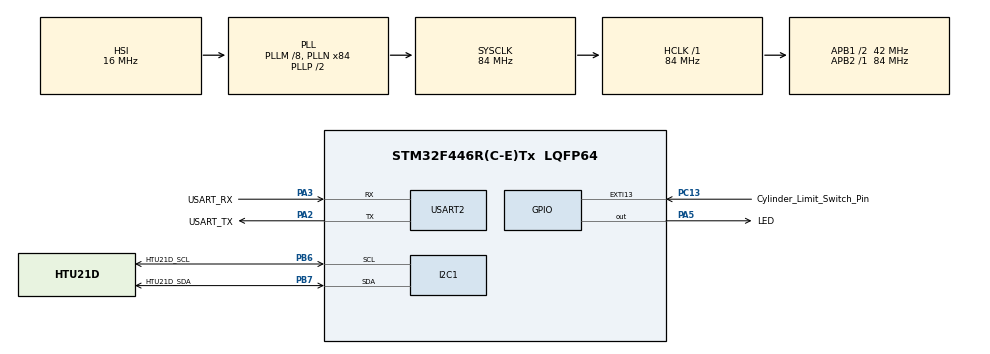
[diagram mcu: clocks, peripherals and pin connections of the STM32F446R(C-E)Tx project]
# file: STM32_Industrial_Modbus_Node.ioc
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Dma.Request0=USART2_RX
Dma.USART2_RX.0.Direction=DMA_PERIPH_TO_MEMORY
Dma.USART2_RX.0.FIFOMode=DMA_FIFOMODE_DISABLE
Dma.USART2_RX.0.Instance=DMA1_Stream5
Dma.USART2_RX.0.MemDataAlignment=DMA_MDATAALIGN_BYTE
Dma.USART2_RX.0.MemInc=DMA_MINC_ENABLE
Dma.USART2_RX.0.Mode=DMA_CIRCULAR
Dma.USART2_RX.0.PeriphDataAlignment=DMA_PDATAALIGN_BYTE
Dma.USART2_RX.0.PeriphInc=DMA_PINC_DISABLE
Dma.USART2_RX.0.Priority=DMA_PRIORITY_LOW
FREERTOS.BinarySemaphores01=FrameReadySemaphore,Dynamic,NULL,Available
FREERTOS.Tasks01=ModbusTask,40,512,StartModbusTask,Default,NULL,Dynamic,NULL,NULL;SensorTask,24,512,StartSensorTask,Default,NULL,Dynamic,NULL,NULL;DiagnosticTask,16,256,StartDiagnosticTask,Default,NULL,Dynamic,NULL,NULL
FREERTOS.configTOTAL_HEAP_SIZE=8192
IWDG.Prescaler=IWDG_PRESCALER_32
Mcu.Family=STM32F4
Mcu.Name=STM32F446R(C-E)Tx
Mcu.Package=LQFP64
NVIC.DMA1_Stream5_IRQn=true\:5\:0\:false\:false\:true\:true\:false\:true\:true
NVIC.EXTI15_10_IRQn=true\:5\:0\:false\:false\:true\:true\:true\:true\:true
NVIC.PriorityGroup=NVIC_PRIORITYGROUP_4
NVIC.TIM1_BRK_TIM9_IRQn=true\:5\:0\:false\:false\:true\:true\:true\:true\:true
NVIC.TIM1_CC_IRQn=true\:5\:0\:false\:false\:true\:true\:true\:true\:true
NVIC.TIM1_TRG_COM_TIM11_IRQn=true\:5\:0\:false\:false\:true\:true\:true\:true\:true
NVIC.TIM1_UP_TIM10_IRQn=true\:5\:0\:false\:false\:true\:true\:true\:true\:true
NVIC.TIM6_DAC_IRQn=true\:15\:0\:false\:false\:true\:false\:false\:true\:true
NVIC.TimeBase=TIM6_DAC_IRQn
NVIC.TimeBaseIP=TIM6
NVIC.USART2_IRQn=true\:5\:0\:false\:false\:true\:true\:true\:true\:true
PA13.GPIO_Label=TMS
PA13.Mode=Serial_Wire
PA13.Signal=SYS_JTMS-SWDIO
PA14.GPIO_Label=TCK
PA14.Mode=Serial_Wire
PA14.Signal=SYS_JTCK-SWCLK
PA2.GPIO_Label=USART_TX
PA2.Mode=Asynchronous
PA2.Signal=USART2_TX
PA3.GPIO_Label=USART_RX
PA3.Mode=Asynchronous
PA3.Signal=USART2_RX
PA5.GPIO_Label=LED
PA5.Signal=GPIO_Output
PB3.GPIO_Label=SWO
PB3.Signal=SYS_JTDO-SWO
PB6.GPIO_Label=HTU21D_SCL
PB6.GPIO_Pu=GPIO_PULLUP
PB6.Mode=I2C
PB6.Signal=I2C1_SCL
PB7.GPIO_Label=HTU21D_SDA
PB7.GPIO_Pu=GPIO_PULLUP
PB7.Mode=I2C
PB7.Signal=I2C1_SDA
PC13.GPIO_Label=Cylinder_Limit_Switch_Pin
PC13.GPIO_ModeDefaultEXTI=GPIO_MODE_IT_RISING_FALLING
PC13.GPIO_PuPd=GPIO_PULLUP
PC13.Signal=GPXTI13
PC14-OSC32_IN.Mode=LSE-External-Oscillator
PC14-OSC32_IN.Signal=RCC_OSC32_IN
PC15-OSC32_OUT.Mode=LSE-External-Oscillator
PC15-OSC32_OUT.Signal=RCC_OSC32_OUT
PH0-OSC_IN.Mode=HSE-External-Oscillator
PH0-OSC_IN.Signal=RCC_OSC_IN
PH1-OSC_OUT.Mode=HSE-External-Oscillator
PH1-OSC_OUT.Signal=RCC_OSC_OUT
ProjectManager.HeapSize=0x200
ProjectManager.StackSize=0x400
ProjectManager.TargetToolchain=CMake
RCC.48MHZClocksFreq_Value=84000000
RCC.AHBFreq_Value=84000000
RCC.APB1CLKDivider=RCC_HCLK_DIV2
RCC.APB1Freq_Value=42000000
RCC.APB1TimFreq_Value=84000000
RCC.APB2Freq_Value=84000000
RCC.APB2TimFreq_Value=84000000
RCC.CortexFreq_Value=84000000
RCC.FLatency-AdvancedSettings=FLASH_LATENCY_2
RCC.HCLKFreq_Value=84000000
RCC.HSE_VALUE=8000000
RCC.HSI_VALUE=16000000
RCC.PLLM=8
RCC.PLLN=84
RCC.SYSCLKFreq_VALUE=84000000
RCC.SYSCLKSource=RCC_SYSCLKSOURCE_PLLCLK
RCC.USBFreq_Value=84000000
RCC.VCOOutputFreq_Value=168000000
TIM1.Period=48999
TIM1.Prescaler=2
USART2.VirtualMode=VM_ASYNC
VP_FREERTOS_VS_CMSIS_V2.Mode=CMSIS_V2
VP_IWDG_VS_IWDG.Mode=IWDG_Activate
VP_SYS_VS_tim6.Mode=TIM6
VP_TIM1_VS_ClockSourceINT.Mode=Internal
board=NUCLEO-F446RE

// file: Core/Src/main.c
/* USER CODE BEGIN Header */
/**
  ******************************************************************************
  * @file           : main.c
  * @brief          : Main program body
  ******************************************************************************
  * @attention
  *
  * Copyright (c) 2026 STMicroelectronics.
  * All rights reserved.
  *
  * This software is licensed under terms that can be found in the LICENSE file
  * in the root directory of this software component.
  * If no LICENSE file comes with this software, it is provided AS-IS.
  *
  ******************************************************************************
  */
/* USER CODE END Header */
#include "main.h"
#include "cmsis_os.h"
#include "dma.h"
#include "i2c.h"
#include "iwdg.h"
#include "tim.h"
#include "usart.h"
#include "gpio.h"

/* USER CODE BEGIN Includes */
#include "stdbool.h"
#include "crc.h"
#include "temp_sensor.h"
#include "reset_log.h"
#include "app_shared.h"
/* USER CODE END Includes */

/* USER CODE BEGIN PV */
// **** MODBUS ****

uint8_t modbus_rx_buffer[MODBUS_RX_BUFFER_SIZE]; // Buffer for the circular DMA
volatile uint16_t modbus_rx_len = 0; // Length of the frame, handled in callback (volatile)
volatile bool modbus_frame_ready = 0; // Status of the frame, handled in callback (volatile)
uint16_t modbus_rx_last_pos = 0; // DMA write position at the previous TIM1 tick
uint16_t holding_registers_map[REGISTER_COUNT] = {0}; // Register map
uint8_t modbus_tx_buffer[MODBUS_RX_BUFFER_SIZE]; // buffer for sending data

// **** SYSTEM STATUS ****
volatile System_State_t system_state = STATE_INIT;

// **** BINARY SEMAPHORE ****
extern osSemaphoreId_t FrameReadySemaphoreHandle; // defined in freertos.c

// **** DIAGNOSTIC TASK ****
volatile uint8_t task_alive_flags;
/* USER CODE END PV */

void SystemClock_Config(void);
void MX_FREERTOS_Init(void);

int main(void)
{

  /* USER CODE BEGIN 1 */
  ResetCause_t reset_cause = get_reset_cause();
  log_reset_cause_to_flash(reset_cause);
  /* USER CODE END 1 */

  /* MCU Configuration--------------------------------------------------------*/

  /* Reset of all peripherals, Initializes the Flash interface and the Systick. */
  HAL_Init();

  /* USER CODE BEGIN Init */
  __HAL_DBGMCU_FREEZE_IWDG();
  /* USER CODE END Init */

  /* Configure the system clock */
  SystemClock_Config();

  /* Initialize all configured peripherals */
  MX_GPIO_Init();
  MX_DMA_Init();
  MX_USART2_UART_Init();
  MX_I2C1_Init();
  MX_TIM1_Init();
  MX_IWDG_Init();
  /* USER CODE BEGIN 2 */
  holding_registers_map[3] = 0x0200;
  // Firmware version exposed over Modbus

  HAL_TIM_Base_Start_IT(&htim1);
  // TIM1 period = 1.75 ms = fixed Modbus RTU t3.5 (inter-frame silence) value for baud rates > 19200 bps

  HAL_UART_Receive_DMA(&huart2, modbus_rx_buffer, MODBUS_RX_BUFFER_SIZE);
  // Start continuous circular DMA reception into modbus_rx_buffer (runs in the background, never stops)

  // Expose the cause of the reset that just happened as a Modbus register
  holding_registers_map[2] = read_last_reset_cause_from_flash();

  // Number of resets recorded in Flash since the last sector erase
  holding_registers_map[4] = get_reset_count();
  /* USER CODE END 2 */

  /* Init scheduler */
  osKernelInitialize();  /* Call init function for freertos objects (in cmsis_os2.c) */
  MX_FREERTOS_Init();

  /* Start scheduler */
  osKernelStart();

  /* We should never get here as control is now taken by the scheduler */

  /* Infinite loop */
  while (1)
  {

  }
}

void SystemClock_Config(void)
{
  RCC_OscInitTypeDef RCC_OscInitStruct = {0};
  RCC_ClkInitTypeDef RCC_ClkInitStruct = {0};

  /** Configure the main internal regulator output voltage
  */
  __HAL_RCC_PWR_CLK_ENABLE();
  __HAL_PWR_VOLTAGESCALING_CONFIG(PWR_REGULATOR_VOLTAGE_SCALE3);

  /** Initializes the RCC Oscillators according to the specified parameters
  * in the RCC_OscInitTypeDef structure.
  */
  RCC_OscInitStruct.OscillatorType = RCC_OSCILLATORTYPE_HSI|RCC_OSCILLATORTYPE_LSI;
  RCC_OscInitStruct.HSIState = RCC_HSI_ON;
  RCC_OscInitStruct.HSICalibrationValue = RCC_HSICALIBRATION_DEFAULT;
  RCC_OscInitStruct.LSIState = RCC_LSI_ON;
  RCC_OscInitStruct.PLL.PLLState = RCC_PLL_ON;
  RCC_OscInitStruct.PLL.PLLSource = RCC_PLLSOURCE_HSI;
  RCC_OscInitStruct.PLL.PLLM = 8;
  RCC_OscInitStruct.PLL.PLLN = 84;
  RCC_OscInitStruct.PLL.PLLP = RCC_PLLP_DIV2;
  RCC_OscInitStruct.PLL.PLLQ = 2;
  RCC_OscInitStruct.PLL.PLLR = 2;
  if (HAL_RCC_OscConfig(&RCC_OscInitStruct) != HAL_OK)
  {
    Error_Handler();
  }

  /** Initializes the CPU, AHB and APB buses clocks
  */
  RCC_ClkInitStruct.ClockType = RCC_CLOCKTYPE_HCLK|RCC_CLOCKTYPE_SYSCLK
                              |RCC_CLOCKTYPE_PCLK1|RCC_CLOCKTYPE_PCLK2;
  RCC_ClkInitStruct.SYSCLKSource = RCC_SYSCLKSOURCE_PLLCLK;
  RCC_ClkInitStruct.AHBCLKDivider = RCC_SYSCLK_DIV1;
  RCC_ClkInitStruct.APB1CLKDivider = RCC_HCLK_DIV2;
  RCC_ClkInitStruct.APB2CLKDivider = RCC_HCLK_DIV1;

  if (HAL_RCC_ClockConfig(&RCC_ClkInitStruct, FLASH_LATENCY_2) != HAL_OK)
  {
    Error_Handler();
  }
}

/* USER CODE BEGIN 4 */

// Read the state of the cylinder
void HAL_GPIO_EXTI_Callback(uint16_t GPIO_Pin)
{
  if (GPIO_Pin == Cylinder_Limit_Switch_Pin_Pin) {
    holding_registers_map[1] = (HAL_GPIO_ReadPin(Cylinder_Limit_Switch_Pin_GPIO_Port, Cylinder_Limit_Switch_Pin_Pin) == GPIO_PIN_RESET);
  }
}
/* USER CODE END 4 */

void HAL_TIM_PeriodElapsedCallback(TIM_HandleTypeDef *htim)
{
  if (htim->Instance == TIM6)
  {
    HAL_IncTick();
  }
  /* USER CODE BEGIN Callback 1 */

  // Fires every 1.75 ms (TIM1 overflow). Detects Modbus frame end by checking whether the DMA write position has stayed the same since the last tick.
 if (htim->Instance == TIM1) {

    // current DMA write offset in the buffer (counts up as bytes arrive)
    uint16_t pos = MODBUS_RX_BUFFER_SIZE - __HAL_DMA_GET_COUNTER(huart2.hdmarx);

    // check if there are any new bytes since the last 1.75 ms tick
    if (pos != modbus_rx_last_pos) {
      modbus_rx_last_pos = pos;
    }
    // no new bytes for a full 1.75 ms tick -> silence detected, frame is complete
    else if (pos != 0 && !modbus_frame_ready) {
      modbus_rx_len = pos;
      modbus_frame_ready = true;
      osSemaphoreRelease(FrameReadySemaphoreHandle); // Wake up ModbusTask
    }
    }
  /* USER CODE END Callback 1 */
}

void Error_Handler(void)
{
  __disable_irq();
  while (1)
  {
  }
}

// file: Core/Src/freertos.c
/* USER CODE BEGIN Header */
/**
  ******************************************************************************
  * File Name          : freertos.c
  * Description        : Code for freertos applications
  ******************************************************************************
  * @attention
  *
  * Copyright (c) 2026 STMicroelectronics.
  * All rights reserved.
  *
  * This software is licensed under terms that can be found in the LICENSE file
  * in the root directory of this software component.
  * If no LICENSE file comes with this software, it is provided AS-IS.
  *
  ******************************************************************************
  */
/* USER CODE END Header */

#include "FreeRTOS.h"
#include "task.h"
#include "main.h"
#include "cmsis_os.h"

/* USER CODE BEGIN Includes */
#include "crc.h"
#include "temp_sensor.h"
#include "reset_log.h"
#include "app_shared.h"
#include "usart.h"
#include "iwdg.h"
/* USER CODE END Includes */

/* Definitions for ModbusTask */
osThreadId_t ModbusTaskHandle;
const osThreadAttr_t ModbusTask_attributes = {
  .name = "ModbusTask",
  .stack_size = 512 * 4,
  .priority = (osPriority_t) osPriorityHigh,
};
/* Definitions for SensorTask */
osThreadId_t SensorTaskHandle;
const osThreadAttr_t SensorTask_attributes = {
  .name = "SensorTask",
  .stack_size = 512 * 4,
  .priority = (osPriority_t) osPriorityNormal,
};
/* Definitions for DiagnosticTask */
osThreadId_t DiagnosticTaskHandle;
const osThreadAttr_t DiagnosticTask_attributes = {
  .name = "DiagnosticTask",
  .stack_size = 256 * 4,
  .priority = (osPriority_t) osPriorityBelowNormal,
};
/* Definitions for FrameReadySemaphore */
osSemaphoreId_t FrameReadySemaphoreHandle;
const osSemaphoreAttr_t FrameReadySemaphore_attributes = {
  .name = "FrameReadySemaphore"
};

void StartModbusTask(void *argument);
void StartSensorTask(void *argument);
void StartDiagnosticTask(void *argument);

void MX_FREERTOS_Init(void); /* (MISRA C 2004 rule 8.1) */

void MX_FREERTOS_Init(void) {

  /* Create the semaphores(s) */
  /* creation of FrameReadySemaphore */
  FrameReadySemaphoreHandle = osSemaphoreNew(1, 1, &FrameReadySemaphore_attributes);

  /* Create the thread(s) */
  /* creation of ModbusTask */
  ModbusTaskHandle = osThreadNew(StartModbusTask, NULL, &ModbusTask_attributes);

  /* creation of SensorTask */
  SensorTaskHandle = osThreadNew(StartSensorTask, NULL, &SensorTask_attributes);

  /* creation of DiagnosticTask */
  DiagnosticTaskHandle = osThreadNew(StartDiagnosticTask, NULL, &DiagnosticTask_attributes);

}

void StartModbusTask(void *argument)
{
  /* USER CODE BEGIN StartModbusTask */
  /* Infinite loop */
  for(;;)
  {

      // Wake on a frame, or after 500 ms anyway, so the task can report that it is still alive
      if (osSemaphoreAcquire(FrameReadySemaphoreHandle, 500) == osOK) {

      // Shortest valid 0x03 request is 8 bytes: address + function + reg addr(2) + count(2) + CRC(2)
      if (modbus_rx_len >= 8) {
      // Frame integrity check: compare the CRC the sender attached and the CRC we compute ourselves
      uint16_t received_crc = modbus_rx_buffer[modbus_rx_len - 2] | (modbus_rx_buffer[modbus_rx_len - 1] << 8); // CRC sent by the master (low byte first, then high byte)
      uint16_t calculated_crc = crc16_modbus(modbus_rx_buffer, modbus_rx_len - 2); // CRC we calculate locally with the standard C algorithm (crc.c)

      //  **** VERIFICATION ****
      if (received_crc == calculated_crc) {
        // CRC matches -> frame is valid
        uint8_t slave_address = modbus_rx_buffer[0];
        uint8_t function_code = modbus_rx_buffer[1];

        // Respond only when addressed, for a supported function, and while not in FAULT (fail-safe: stay silent)
        if (slave_address == SLAVE_ADDRESS && function_code == 0x03 && system_state != STATE_FAULT) {

          uint16_t reg_address = (modbus_rx_buffer[2] << 8) | modbus_rx_buffer[3];
          uint16_t reg_count = (modbus_rx_buffer[4] << 8) | modbus_rx_buffer[5];

          // Reject reads past the register map; only single-register reads are supported for now
          if (reg_address < REGISTER_COUNT && reg_count == 1) {

            // Build the response frame

            modbus_tx_buffer[0] = SLAVE_ADDRESS; // Device ID
            modbus_tx_buffer[1] = 0x03; // function code (0x03 -> read)
            modbus_tx_buffer[2] = 2; // byte count
            modbus_tx_buffer[3] = (holding_registers_map[reg_address] >> 8) & 0xFF; // high byte
            modbus_tx_buffer[4] = holding_registers_map[reg_address] & 0xFF; // low byte

            // Compute CRC and attach it to the response
            uint16_t response_crc = crc16_modbus(modbus_tx_buffer, 5);
            modbus_tx_buffer[5] = response_crc & 0xFF;
            modbus_tx_buffer[6] = (response_crc >> 8) & 0xFF;

            // Send the response back to the master
            HAL_UART_Transmit(&huart2, modbus_tx_buffer, 7, HAL_MAX_DELAY);
            HAL_GPIO_TogglePin(LED_GPIO_Port, LED_Pin);
          }
        }
      }
      // else: CRC mismatch -> corrupted frame, just ignore it
      }

      // Restart DMA so the next frame starts writing at buffer position 0 again
      HAL_UART_DMAStop(&huart2);
      HAL_UART_Receive_DMA(&huart2, modbus_rx_buffer, MODBUS_RX_BUFFER_SIZE);

      // Reset frame tracking so the next frame is detected from scratch
      modbus_rx_last_pos = 0;
      modbus_frame_ready = 0;
    }

    // Reported on every wake-up, also after a timeout - that is what proves the task is not stuck
    task_alive_flags |= ALIVE_MODBUS;
  }
  /* USER CODE END StartModbusTask */
}

void StartSensorTask(void *argument)
{
  /* USER CODE BEGIN StartSensorTask */
  /* Infinite loop */
  for(;;)
  {
  uint16_t temp = read_htu21d_temperature();

  // Update the register on a valid reading; a failed read (0xFFFF) puts the node into FAULT state
  if (temp == 0xFFFF) {
    system_state = STATE_FAULT;
    } else {
    holding_registers_map[0] = temp;
    system_state = STATE_NORMAL;
    }

  task_alive_flags |= ALIVE_SENSOR;
  osDelay(1000); // Save the current temp. into register_map every 1 second

  }
  /* USER CODE END StartSensorTask */
}

void StartDiagnosticTask(void *argument)
{
  /* USER CODE BEGIN StartDiagnosticTask */
  /* Infinite loop */
  for(;;)
  {
    task_alive_flags |= ALIVE_DIAG;

    // Feed the watchdog only when every task has reported since the last check.
    // If any task hangs, the refresh stops happening and the MCU resets.
    //
    //   one task missing:            all tasks reported:
    //   flags     = 0b00000101       flags     = 0b00000111
    //   ALIVE_ALL = 0b00000111       ALIVE_ALL = 0b00000111
    //             & ----------                 & ----------
    //   result    = 0b00000101       result    = 0b00000111
    //   -> != ALIVE_ALL, no refresh  -> == ALIVE_ALL, refresh
    if ((task_alive_flags & ALIVE_ALL) == ALIVE_ALL)
    {
      HAL_IWDG_Refresh(&hiwdg);
      task_alive_flags = 0; // clear, so each task must report again
    }

    osDelay(500);
  }
  /* USER CODE END StartDiagnosticTask */
}
